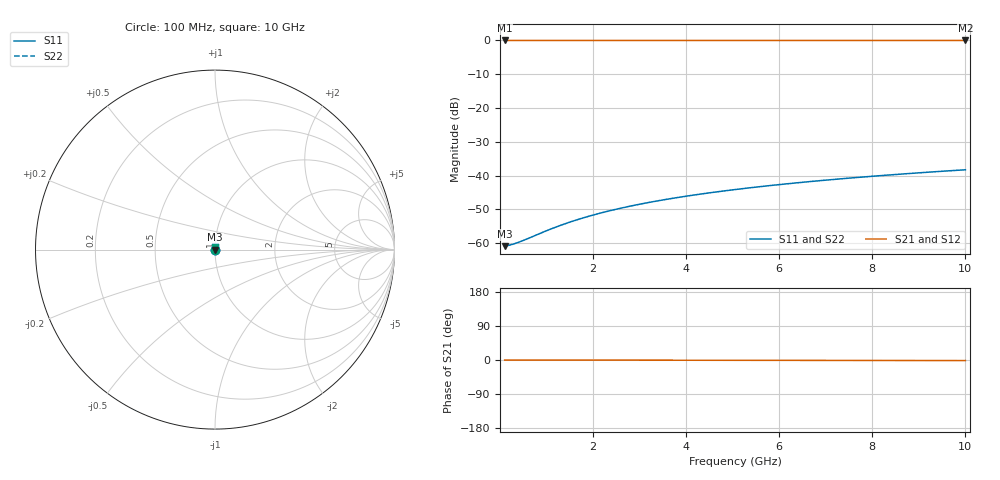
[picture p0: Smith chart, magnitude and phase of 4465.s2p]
# Hz S RI R 50.00
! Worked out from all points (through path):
!   100 points, 100 MHz to 10 GHz, reference 50 ohm
!   highest |S21| = -0.01 dB at 100 MHz (marker M1); lowest = 0.0 dB at 10 GHz (marker M2)
!   lowest |S11| = -60.9 dB at 100 MHz (marker M3), VSWR 1.00, Z = 50.1 + j0.0121 ohm
!   |S11| at or under -10 dB: start of sweep to end of sweep
!   |S22| runs from -60.9 to -38.3 dB; largest |S21 - S12| = 0
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1e8  0.000892 0.000121  0.9991 -0.000266  0.9991 -0.000266  0.000892 0.000121
2e8  0.000898 0.000242  0.9991 -0.000531  0.9991 -0.000531  0.000898 0.000242
3e8  0.000902 0.000363  0.9991 -0.000797  0.9991 -0.000797  0.000902 0.000363
4e8  0.000906 0.000484  0.9991 -0.00106  0.9991 -0.00106  0.000906 0.000484
6e8  0.000912 0.000726  0.9991 -0.00159  0.9991 -0.00159  0.000912 0.000726
1e9  0.000922 0.00121  0.9991 -0.00266  0.9991 -0.00266  0.000922 0.00121
1.2e9  0.000927 0.00145  0.9991 -0.00319  0.9991 -0.00319  0.000927 0.00145
1.5e9  0.000934 0.00181  0.9991 -0.00398  0.9991 -0.00398  0.000934 0.00181
1.8e9  0.000941 0.00218  0.9991 -0.00478  0.9991 -0.00478  0.000941 0.00218
2.1e9  0.000948 0.00254  0.999 -0.00558  0.999 -0.00558  0.000948 0.00254
2.5e9  0.000958 0.00302  0.999 -0.00664  0.999 -0.00664  0.000958 0.00302
2.9e9  0.000969 0.00351  0.999 -0.0077  0.999 -0.0077  0.000969 0.00351
3.4e9  0.000983 0.00411  0.999 -0.00903  0.999 -0.00903  0.000983 0.00411
3.8e9  0.000996 0.0046  0.999 -0.0101  0.999 -0.0101  0.000996 0.0046
4.2e9  0.00101 0.00508  0.999 -0.0112  0.999 -0.0112  0.00101 0.00508
4.6e9  0.00102 0.00556  0.9989 -0.0122  0.9989 -0.0122  0.00102 0.00556
5.1e9  0.00104 0.00617  0.9989 -0.0135  0.9989 -0.0135  0.00104 0.00617
5.9e9  0.00108 0.00714  0.9989 -0.0157  0.9989 -0.0157  0.00108 0.00714
6.7e9  0.00111 0.0081  0.9988 -0.0178  0.9988 -0.0178  0.00111 0.0081
7.5e9  0.00116 0.00907  0.9988 -0.0199  0.9988 -0.0199  0.00116 0.00907
8.4e9  0.00121 0.0102  0.9987 -0.0223  0.9987 -0.0223  0.00121 0.0102
1e10  0.00131 0.0121  0.9986 -0.0266  0.9986 -0.0266  0.00131 0.0121
